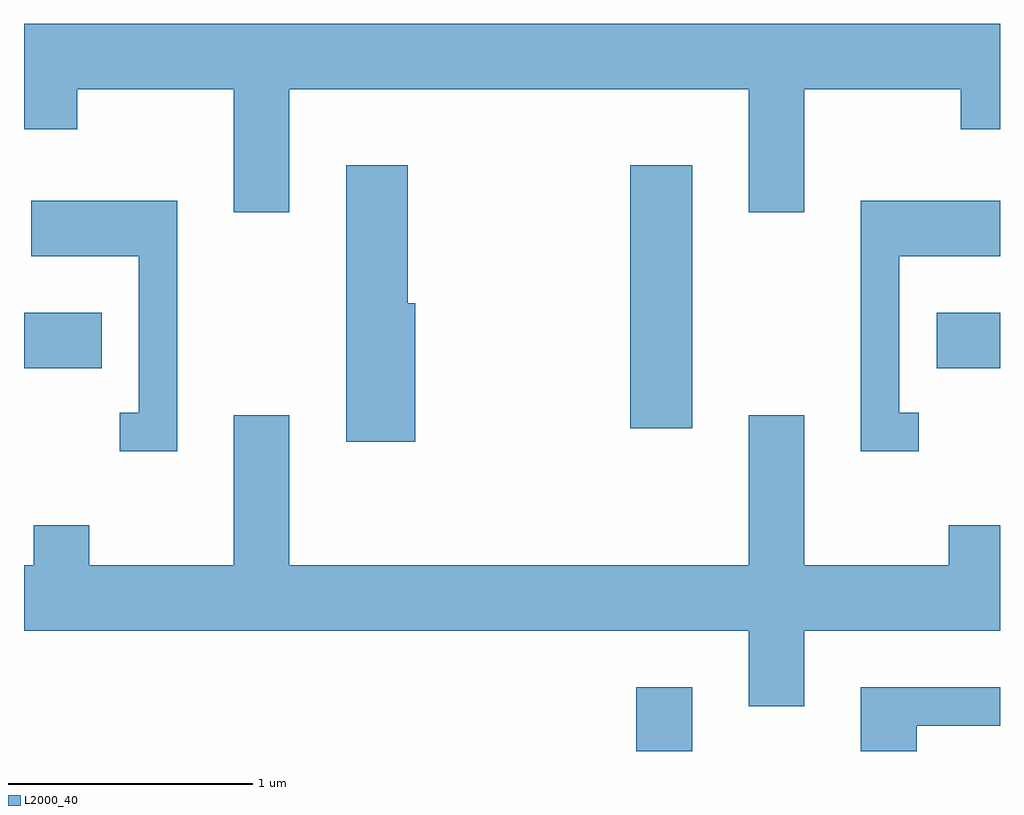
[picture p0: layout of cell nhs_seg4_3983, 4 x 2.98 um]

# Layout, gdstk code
import gdstk
lib = gdstk.Library(unit=1e-6, precision=1e-09)
def R(c, l, rs):  # rectangles x0, y0, x1, y1
    for r in rs: c.add(gdstk.rectangle(r[:2], r[2:], *l))
def P(c, l, *ps):  # polygons
    for p in ps: c.add(gdstk.Polygon(p, *l))
L2000_40 = (2000, 40)

nhs_seg4_3983 = lib.new_cell('nhs_seg4_3983')
R(nhs_seg4_3983, L2000_40, [(304.121,1331.982,304.349,1332.244), (304.096,1333.306,304.349,1334.384), (301.611,1333.551,301.929,1333.779), (305.351,1333.551,305.611,1333.779)])
P(nhs_seg4_3983, L2000_40, [(302.699,1334.696),(304.581,1334.696),(304.581,1334.191),(304.809,1334.191),(304.809,1334.696),(305.451,1334.696),(305.451,1334.531),(305.611,1334.531),(305.611,1334.964),(301.611,1334.964),(301.611,1334.531),(301.829,1334.531),(301.829,1334.696),(302.471,1334.696),(302.471,1334.191),(302.699,1334.191)],
  [(303.214,1333.819),(303.184,1333.819),(303.184,1334.384),(302.931,1334.384),(302.931,1333.251),(303.214,1333.251)],
  [(302.239,1334.239),(301.641,1334.239),(301.641,1334.011),(302.081,1334.011),(302.081,1333.369),(302.003,1333.369),(302.003,1333.211),(302.239,1333.211)],
  [(305.278,1333.369),(305.199,1333.369),(305.199,1334.011),(305.611,1334.011),(305.611,1334.239),(305.041,1334.239),(305.041,1333.211),(305.278,1333.211)],
  [(304.809,1332.476),(305.611,1332.476),(305.611,1332.909),(305.401,1332.909),(305.401,1332.744),(304.809,1332.744),(304.809,1333.359),(304.581,1333.359),(304.581,1332.744),(302.699,1332.744),(302.699,1333.359),(302.471,1333.359),(302.471,1332.744),(301.879,1332.744),(301.879,1332.909),(301.651,1332.909),(301.651,1332.744),(301.611,1332.744),(301.611,1332.476),(304.581,1332.476),(304.581,1332.166),(304.809,1332.166)],
  [(305.269,1332.086),(305.611,1332.086),(305.611,1332.244),(305.041,1332.244),(305.041,1331.982),(305.269,1331.982)])

lib.write_gds('nhs_seg4_3983.gds')
